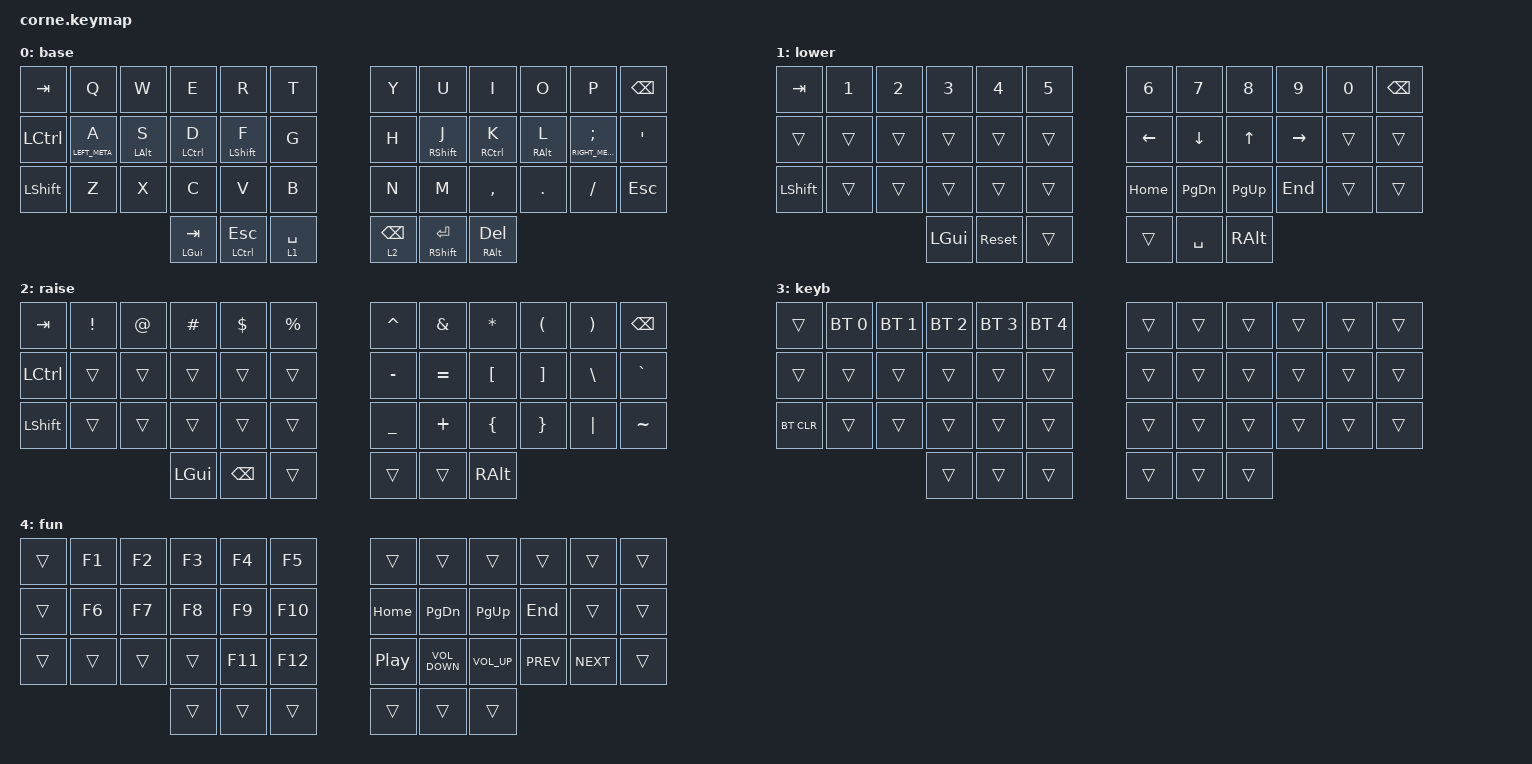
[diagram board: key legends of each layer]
/*
 * Copyright (c) 2020 The ZMK Contributors
 *
 * SPDX-License-Identifier: MIT
 */

#include <behaviors.dtsi>
#include <dt-bindings/zmk/bt.h>
#include <dt-bindings/zmk/keys.h>

/ {
    combos {
        compatible = "zmk,combos";

        keyboard_layer_toggle {
            bindings = <&mo 3>;
            key-positions = <36 38>;
        };

        function_layer_toggle {
            bindings = <&mo 4>;
            key-positions = <39 38>;
        };

        right_hand_lower {
            bindings = <&mo 1>;
            key-positions = <40 41>;
        };
    };

    behaviors {
        aml: alpha_mods_l {
            compatible = "zmk,behavior-hold-tap";
            #binding-cells = <2>;
            tapping-term-ms = <250>;
            quick-tap-ms = <150>;
            flavor = "balanced";
            bindings = <&kp>, <&kp>;

            hold-trigger-key-positions = <6 7 8 9 10 11 18 19 20 21 22 23 30 31 32 33 34 35 39 38>;
            hold-trigger-on-release;
            require-prior-idle-ms = <100>;
        };

        asl: alpha_shift_l {
            compatible = "zmk,behavior-hold-tap";
            #binding-cells = <2>;
            tapping-term-ms = <200>;
            quick-tap-ms = <150>;
            flavor = "balanced";
            bindings = <&kp>, <&kp>;

            hold-trigger-key-positions = <6 7 8 9 10 11 18 19 20 21 22 23 30 31 32 33 34 35 39 38>;
            hold-trigger-on-release;
        };

        amr: alpha_mods_r {
            compatible = "zmk,behavior-hold-tap";
            #binding-cells = <2>;
            tapping-term-ms = <250>;
            quick-tap-ms = <150>;
            flavor = "balanced";
            bindings = <&kp>, <&kp>;

            hold-trigger-key-positions = <0 1 2 3 4 5 12 13 14 15 16 17 24 25 26 27 28 29 38 39>;
            hold-trigger-on-release;
            require-prior-idle-ms = <100>;
        };

        asr: alpha_shift_r {
            compatible = "zmk,behavior-hold-tap";
            #binding-cells = <2>;
            tapping-term-ms = <200>;
            quick-tap-ms = <150>;
            flavor = "balanced";
            bindings = <&kp>, <&kp>;

            hold-trigger-key-positions = <0 1 2 3 4 5 12 13 14 15 16 17 24 25 26 27 28 29 38 39>;
            hold-trigger-on-release;
        };
    };

    keymap {
        compatible = "zmk,keymap";

        base {
            // -----------------------------------------------------------------------------------------
            // |  TAB |  Q  |  W  |  E  |  R  |  T  |   |  Y  |  U   |  I  |  O  |  P  | BKSP |
            // | CTRL |  A  |  S  |  D  |  F  |  G  |   |  H  |  J   |  K  |  L  |  ;  |  '   |
            // | SHFT |  Z  |  X  |  C  |  V  |  B  |   |  N  |  M   |  ,  |  .  |  /  | ESC  |
            //                    | GUI | LWR | SPC |   | ENT | RSE  | ALT |

            bindings = <
&kp TAB    &kp Q             &kp W            &kp E         &kp R              &kp T          &kp Y            &kp U               &kp I            &kp O             &kp P                 &kp BSPC
&kp LCTRL  &aml LEFT_META A  &aml LEFT_ALT S  &aml LCTRL D  &asl LEFT_SHIFT F  &kp G          &kp H            &asr RIGHT_SHIFT J  &amr RCTRL K     &amr RIGHT_ALT L  &amr RIGHT_META SEMI  &kp SQT
&kp LSHFT  &kp Z             &kp X            &kp C         &kp V              &kp B          &kp N            &kp M               &kp COMMA        &kp DOT           &kp FSLH              &kp ESC
                                              &mt LGUI TAB  &mt LCTRL ESC      &lt 1 SPACE    &lt 2 BACKSPACE  &mt RSHIFT RET      &mt RALT DELETE
            >;

            label = "base";
        };

        lower {
            // -----------------------------------------------------------------------------------------
            // |  TAB |  1  |  2  |  3  |  4  |  5  |   |  6  |  7  |  8  |  9  |  0  | BKSP |
            // | BTCLR| BT1 | BT2 | BT3 | BT4 | BT5 |   | LFT | DWN |  UP | RGT |     |      |
            // | SHFT |     |     |     |     |     |   |     |     |     |     |     |      |
            //                    | GUI |     | SPC |   | ENT |     | ALT |

            bindings = <
&kp TAB    &kp N1  &kp N2  &kp N3    &kp N4      &kp N5    &kp N6    &kp N7         &kp N8       &kp N9     &kp N0  &kp BSPC
&trans     &trans  &trans  &trans    &trans      &trans    &kp LEFT  &kp DOWN       &kp UP       &kp RIGHT  &trans  &trans
&kp LSHFT  &trans  &trans  &trans    &trans      &trans    &kp HOME  &kp PAGE_DOWN  &kp PAGE_UP  &kp END    &trans  &trans
                           &kp LGUI  &sys_reset  &trans    &trans    &kp SPACE      &kp RALT
            >;

            label = "lower";
        };

        raise {
            // -----------------------------------------------------------------------------------------
            // |  TAB |  !  |  @  |  #  |  $  |  %  |   |  ^  |  &  |  *  |  (  |  )  | BKSP |
            // | CTRL |     |     |     |     |     |   |  -  |  =  |  [  |  ]  |  \  |  `   |
            // | SHFT |     |     |     |     |     |   |  _  |  +  |  {  |  }  | "|" |  ~   |
            //                    | GUI |     | SPC |   | ENT |     | ALT |

            bindings = <
&kp TAB    &kp EXCL  &kp AT  &kp HASH  &kp DLLR       &kp PRCNT    &kp CARET  &kp AMPS   &kp ASTRK  &kp LPAR  &kp RPAR  &kp BSPC
&kp LCTRL  &trans    &trans  &trans    &trans         &trans       &kp MINUS  &kp EQUAL  &kp LBKT   &kp RBKT  &kp BSLH  &kp GRAVE
&kp LSHFT  &trans    &trans  &trans    &trans         &trans       &kp UNDER  &kp PLUS   &kp LBRC   &kp RBRC  &kp PIPE  &kp TILDE
                             &kp LGUI  &kp BACKSPACE  &trans       &trans     &trans     &kp RALT
            >;

            label = "raise";
        };

        keyb {
            bindings = <
&trans      &bt BT_SEL 0  &bt BT_SEL 1  &bt BT_SEL 2  &bt BT_SEL 3  &bt BT_SEL 4    &trans  &trans  &trans  &trans  &trans  &trans
&trans      &trans        &trans        &trans        &trans        &trans          &trans  &trans  &trans  &trans  &trans  &trans
&bt BT_CLR  &trans        &trans        &trans        &trans        &trans          &trans  &trans  &trans  &trans  &trans  &trans
                                        &trans        &trans        &trans          &trans  &trans  &trans
            >;

            label = "keyb";
        };

        fun {
            bindings = <
&trans  &kp F1  &kp F2  &kp F3  &kp F4   &kp F5     &trans            &trans             &trans           &trans      &trans      &trans
&trans  &kp F6  &kp F7  &kp F8  &kp F9   &kp F10    &kp HOME          &kp PAGE_DOWN      &kp PAGE_UP      &kp END     &trans      &trans
&trans  &trans  &trans  &trans  &kp F11  &kp F12    &kp C_PLAY_PAUSE  &kp C_VOLUME_DOWN  &kp C_VOLUME_UP  &kp C_PREV  &kp C_NEXT  &trans
                        &trans  &trans   &trans     &trans            &trans             &trans
            >;

            label = "fun";
        };
    };
};
